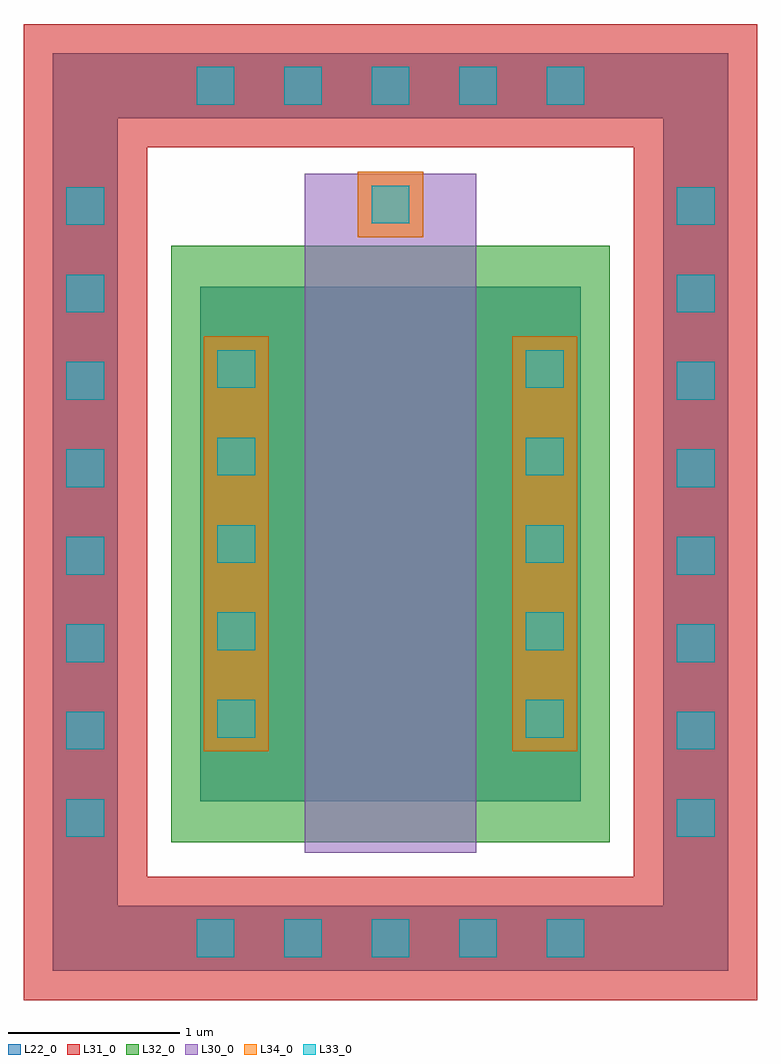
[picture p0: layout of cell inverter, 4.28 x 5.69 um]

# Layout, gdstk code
import gdstk
lib = gdstk.Library(unit=1e-6, precision=1e-09)
def R(c, l, rs):  # rectangles x0, y0, x1, y1
    for r in rs: c.add(gdstk.rectangle(r[:2], r[2:], *l))
def A(c, l, x, y, w, h, nx, ny, dx, dy):  # array of equal rectangles
    R(c, l, [(x+i*dx, y+j*dy, x+i*dx+w, y+j*dy+h) for i in range(nx) for j in range(ny)])
def P(c, l, *ps):  # polygons
    for p in ps: c.add(gdstk.Polygon(p, *l))
L22_0 = (22, 0)
L30_0 = (30, 0)
L31_0 = (31, 0)
L32_0 = (32, 0)
L33_0 = (33, 0)
L34_0 = (34, 0)

pfet = lib.new_cell('pfet')

nfet = lib.new_cell('nfet')
R(nfet, L22_0, [(-0.42,0,0,3), (0,0,1.38,3), (1.38,0,1.8,3)])
P(nfet, L22_0, [(-1.28,-0.99),(-1.28,3.982),(-0.9,3.982),(-0.9,-0.61),(2.28,-0.61),(2.28,3.982),(-1.28,3.982),(-1.28,4.362),(2.66,4.362),(2.66,-0.99)])
R(nfet, L30_0, [(0.19,-0.3,1.19,3.3), (0.19,3.3,1.19,3.66)])
P(nfet, L31_0, [(-1.45,-1.16),(-1.45,3.812),(-0.73,3.812),(-0.73,-0.44),(2.11,-0.44),(2.11,3.812),(-1.45,3.812),(-1.45,4.532),(2.83,4.532),(2.83,-1.16)])
R(nfet, L32_0, [(-0.59,-0.24,1.97,3.24)])
A(nfet, L33_0, -0.44, -0.91, 0.22, 0.22, 5, 2, 0.51, 4.972)
A(nfet, L33_0, -1.2, -0.209, 0.22, 0.22, 1, 8, 0, 0.51)
A(nfet, L33_0, 2.36, -0.209, 0.22, 0.22, 1, 8, 0, 0.51)
A(nfet, L33_0, -0.32, 0.37, 0.22, 0.22, 1, 5, 0, 0.51)
A(nfet, L33_0, 1.48, 0.37, 0.22, 0.22, 1, 5, 0, 0.51)
R(nfet, L33_0, [(0.58,3.37,0.8,3.59)])
R(nfet, L34_0, [(-0.4,0.29,-0.02,2.71), (1.4,0.29,1.78,2.71), (0.5,3.289,0.88,3.671)])

inverter = lib.new_cell('inverter')
inverter.add(gdstk.Reference(pfet, (-1.505,-0.125)))
inverter.add(gdstk.Reference(nfet, (1.655,0.025)))

lib.write_gds('inverter.gds')
